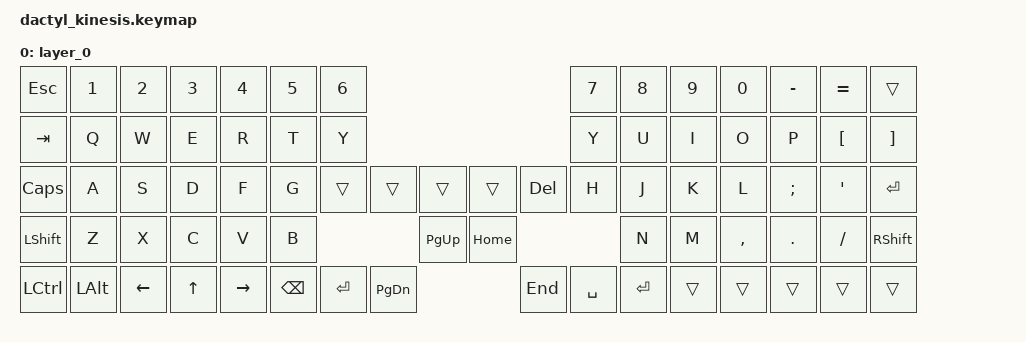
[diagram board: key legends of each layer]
#include <dt-bindings/zmk/keys.h>

/ {
    keymap {
        compatible = "zmk,keymap";

        layer_0 {
            bindings = <
&kp ESC    &kp N1    &kp N2    &kp N3  &kp N4     &kp N5  &kp N6                                                                    &kp N7  &kp N8  &kp N9  &kp N0     &kp MINUS  &kp EQUAL  &trans
&kp TAB    &kp Q     &kp W     &kp E   &kp R      &kp T   &kp Y                                                                     &kp Y   &kp U   &kp I   &kp O      &kp P      &kp LBKT   &kp RBKT
&kp CAPS   &kp A     &kp S     &kp D   &kp F      &kp G   &trans            &trans     &trans       &trans    &kp DEL               &kp H   &kp J   &kp K   &kp L      &kp SEMI   &kp APOS   &kp ENTER
&kp LSHFT  &kp Z     &kp X     &kp C   &kp V      &kp B                                &kp PG_UP    &kp HOME                                &kp N   &kp M   &kp COMMA  &kp DOT    &kp FSLH   &kp RSHFT
&kp LCTRL  &kp LALT  &kp LEFT  &kp UP  &kp RIGHT                  &kp BSPC  &kp ENTER  &kp PG_DN    &kp END   &kp SPACE  &kp ENTER                  &trans  &trans     &trans     &trans     &trans
            >;
        };
    };
};
